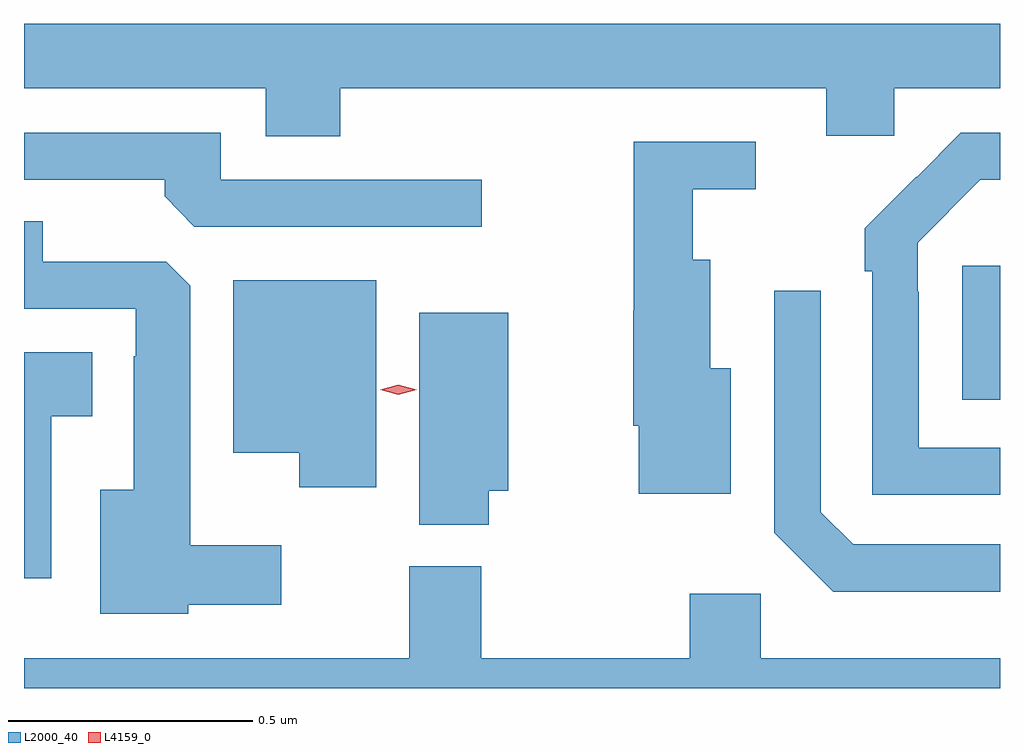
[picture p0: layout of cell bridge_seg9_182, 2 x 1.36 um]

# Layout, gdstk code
import gdstk
lib = gdstk.Library(unit=1e-6, precision=1e-09)
def R(c, l, rs):  # rectangles x0, y0, x1, y1
    for r in rs: c.add(gdstk.rectangle(r[:2], r[2:], *l))
def P(c, l, *ps):  # polygons
    for p in ps: c.add(gdstk.Polygon(p, *l))
L2000_40 = (2000, 40)
L4159_0 = (4159, 0)

bridge_seg9_182 = lib.new_cell('bridge_seg9_182')
R(bridge_seg9_182, L2000_40, [(145.151,1247.729,145.228,1248.004)])
P(bridge_seg9_182, L2000_40, [(143.876,1248.368),(144.872,1248.368),(144.872,1248.27),(145.011,1248.27),(145.011,1248.368),(145.228,1248.368),(145.228,1248.5),(143.228,1248.5),(143.228,1248.368),(143.723,1248.368),(143.723,1248.269),(143.876,1248.269)],
  [(144.166,1248.18),(143.631,1248.18),(143.631,1248.276),(143.228,1248.276),(143.228,1248.18),(143.516,1248.18),(143.516,1248.146),(143.577,1248.084),(144.166,1248.084)],
  [(145.228,1247.631),(145.062,1247.631),(145.062,1247.951),(145.059,1247.951),(145.059,1248.051),(145.188,1248.18),(145.228,1248.18),(145.228,1248.276),(145.148,1248.276),(145.057,1248.185),(145.056,1248.186),(144.951,1248.081),(144.951,1247.993),(144.966,1247.993),(144.966,1247.535),(145.228,1247.535)],
  [(144.676,1247.794),(144.634,1247.794),(144.634,1248.016),(144.598,1248.016),(144.598,1248.161),(144.727,1248.161),(144.727,1248.258),(144.477,1248.258),(144.477,1247.912),(144.476,1247.912),(144.476,1247.676),(144.488,1247.676),(144.488,1247.537),(144.676,1247.537)],
  [(143.565,1247.309),(143.755,1247.309),(143.755,1247.431),(143.569,1247.431),(143.569,1247.963),(143.52,1248.012),(143.266,1248.012),(143.266,1248.095),(143.228,1248.095),(143.228,1247.916),(143.457,1247.916),(143.457,1247.819),(143.453,1247.819),(143.453,1247.545),(143.384,1247.545),(143.384,1247.291),(143.565,1247.291)],
  [(143.95,1247.974),(143.657,1247.974),(143.657,1247.621),(143.792,1247.621),(143.792,1247.55),(143.95,1247.55)],
  [(145.228,1247.433),(144.927,1247.433),(144.861,1247.499),(144.861,1247.953),(144.765,1247.953),(144.765,1247.457),(144.886,1247.336),(145.228,1247.336)],
  [(144.18,1247.543),(144.22,1247.543),(144.22,1247.908),(144.038,1247.908),(144.038,1247.473),(144.18,1247.473)],
  [(143.284,1247.696),(143.368,1247.696),(143.368,1247.827),(143.228,1247.827),(143.228,1247.364),(143.284,1247.364)],
  [(145.228,1247.2),(144.738,1247.2),(144.738,1247.332),(144.592,1247.332),(144.592,1247.2),(144.165,1247.2),(144.165,1247.388),(144.017,1247.388),(144.017,1247.2),(143.228,1247.2),(143.228,1247.138),(145.228,1247.138)])
P(bridge_seg9_182, L4159_0, [(143.995,1247.74),(143.958,1247.75),(143.957,1247.75),(143.958,1247.75),(143.995,1247.76),(144.033,1247.75),(144.033,1247.75),(144.033,1247.75)])

lib.write_gds('bridge_seg9_182.gds')
